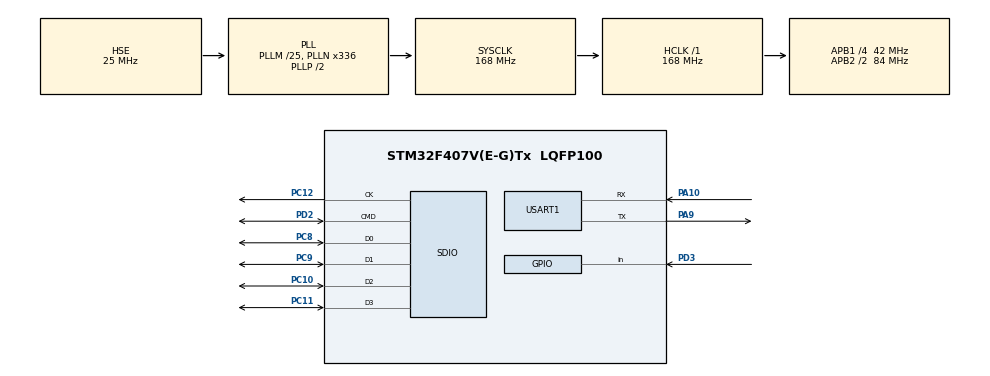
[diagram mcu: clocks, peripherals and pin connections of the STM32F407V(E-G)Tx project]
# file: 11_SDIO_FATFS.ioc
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Dma.Request0=SDIO_TX
Dma.Request1=SDIO_RX
Dma.SDIO_RX.1.Direction=DMA_PERIPH_TO_MEMORY
Dma.SDIO_RX.1.FIFOMode=DMA_FIFOMODE_ENABLE
Dma.SDIO_RX.1.FIFOThreshold=DMA_FIFO_THRESHOLD_FULL
Dma.SDIO_RX.1.Instance=DMA2_Stream6
Dma.SDIO_RX.1.MemBurst=DMA_MBURST_INC4
Dma.SDIO_RX.1.MemDataAlignment=DMA_MDATAALIGN_WORD
Dma.SDIO_RX.1.MemInc=DMA_MINC_ENABLE
Dma.SDIO_RX.1.Mode=DMA_PFCTRL
Dma.SDIO_RX.1.PeriphBurst=DMA_PBURST_INC4
Dma.SDIO_RX.1.PeriphDataAlignment=DMA_PDATAALIGN_WORD
Dma.SDIO_RX.1.PeriphInc=DMA_PINC_DISABLE
Dma.SDIO_RX.1.Priority=DMA_PRIORITY_VERY_HIGH
Dma.SDIO_TX.0.Direction=DMA_MEMORY_TO_PERIPH
Dma.SDIO_TX.0.FIFOMode=DMA_FIFOMODE_ENABLE
Dma.SDIO_TX.0.FIFOThreshold=DMA_FIFO_THRESHOLD_FULL
Dma.SDIO_TX.0.Instance=DMA2_Stream3
Dma.SDIO_TX.0.MemBurst=DMA_MBURST_INC4
Dma.SDIO_TX.0.MemDataAlignment=DMA_MDATAALIGN_WORD
Dma.SDIO_TX.0.MemInc=DMA_MINC_ENABLE
Dma.SDIO_TX.0.Mode=DMA_PFCTRL
Dma.SDIO_TX.0.PeriphBurst=DMA_PBURST_INC4
Dma.SDIO_TX.0.PeriphDataAlignment=DMA_PDATAALIGN_WORD
Dma.SDIO_TX.0.PeriphInc=DMA_PINC_DISABLE
Dma.SDIO_TX.0.Priority=DMA_PRIORITY_VERY_HIGH
FATFS.BSP.number=1
FATFS.USE_DMA_CODE_SD=1
FATFS._CODE_PAGE=949
FATFS._FS_TINY=0
FATFS._USE_LFN=1
FATFS0.BSP.STBoard=false
FATFS0.BSP.api=Unknown
FATFS0.BSP.instance=PD3
FATFS0.BSP.ip=GPIO
FATFS0.BSP.mode=Input
FATFS0.BSP.name=Detect_SDIO
FATFS0.BSP.solution=PD3
Mcu.Family=STM32F4
Mcu.Name=STM32F407V(E-G)Tx
Mcu.Package=LQFP100
NVIC.DMA2_Stream3_IRQn=true\:0\:0\:true\:false\:true\:false\:true\:true
NVIC.DMA2_Stream6_IRQn=true\:0\:0\:true\:false\:true\:false\:true\:true
NVIC.PriorityGroup=NVIC_PRIORITYGROUP_4
NVIC.SDIO_IRQn=true\:0\:0\:true\:false\:true\:true\:true\:true
PA10.GPIO_PuPd=GPIO_PULLUP
PA10.GPIO_Speed=GPIO_SPEED_FREQ_HIGH
PA10.Mode=Asynchronous
PA10.Signal=USART1_RX
PA13.Mode=Serial_Wire
PA13.Signal=SYS_JTMS-SWDIO
PA14.Mode=Serial_Wire
PA14.Signal=SYS_JTCK-SWCLK
PA9.GPIO_PuPd=GPIO_PULLUP
PA9.GPIO_Speed=GPIO_SPEED_FREQ_HIGH
PA9.Mode=Asynchronous
PA9.Signal=USART1_TX
PC10.GPIO_PuPd=GPIO_PULLUP
PC10.GPIO_Speed_High_Default=GPIO_SPEED_FREQ_HIGH
PC10.Mode=SD_4_bits_Wide_bus
PC10.Signal=SDIO_D2
PC11.GPIO_PuPd=GPIO_PULLUP
PC11.GPIO_Speed_High_Default=GPIO_SPEED_FREQ_HIGH
PC11.Mode=SD_4_bits_Wide_bus
PC11.Signal=SDIO_D3
PC12.GPIO_PuPd=GPIO_NOPULL
PC12.GPIO_Speed_High_Default=GPIO_SPEED_FREQ_HIGH
PC12.Mode=SD_4_bits_Wide_bus
PC12.Signal=SDIO_CK
PC8.GPIO_PuPd=GPIO_PULLUP
PC8.GPIO_Speed_High_Default=GPIO_SPEED_FREQ_HIGH
PC8.Mode=SD_4_bits_Wide_bus
PC8.Signal=SDIO_D0
PC9.GPIO_PuPd=GPIO_PULLUP
PC9.GPIO_Speed_High_Default=GPIO_SPEED_FREQ_HIGH
PC9.Mode=SD_4_bits_Wide_bus
PC9.Signal=SDIO_D1
PD2.GPIO_PuPd=GPIO_PULLUP
PD2.GPIO_Speed_High_Default=GPIO_SPEED_FREQ_HIGH
PD2.Mode=SD_4_bits_Wide_bus
PD2.Signal=SDIO_CMD
PD3.Signal=GPIO_Input
PH0-OSC_IN.Mode=HSE-External-Oscillator
PH0-OSC_IN.Signal=RCC_OSC_IN
PH1-OSC_OUT.Mode=HSE-External-Oscillator
PH1-OSC_OUT.Signal=RCC_OSC_OUT
ProjectManager.HeapSize=0x200
ProjectManager.StackSize=0x400
ProjectManager.TargetToolchain=STM32CubeIDE
RCC.48MHZClocksFreq_Value=48000000
RCC.AHBFreq_Value=168000000
RCC.APB1CLKDivider=RCC_HCLK_DIV4
RCC.APB1Freq_Value=42000000
RCC.APB1TimFreq_Value=84000000
RCC.APB2CLKDivider=RCC_HCLK_DIV2
RCC.APB2Freq_Value=84000000
RCC.APB2TimFreq_Value=168000000
RCC.CortexFreq_Value=168000000
RCC.HCLKFreq_Value=168000000
RCC.HSE_VALUE=25000000
RCC.HSI_VALUE=16000000
RCC.LSE_VALUE=32768
RCC.PLLM=25
RCC.PLLN=336
RCC.PLLQ=7
RCC.PLLSourceVirtual=RCC_PLLSOURCE_HSE
RCC.SYSCLKFreq_VALUE=168000000
RCC.SYSCLKSource=RCC_SYSCLKSOURCE_PLLCLK
RCC.VCOOutputFreq_Value=336000000
SDIO.ClockBypass=SDIO_CLOCK_BYPASS_DISABLE
SDIO.ClockDiv=0
USART1.VirtualMode=VM_ASYNC
VP_FATFS_VS_SDIO.Mode=SDIO
board=custom

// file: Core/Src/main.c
/* USER CODE BEGIN Header */
/**
  ******************************************************************************
  * @file           : main.c
  * @brief          : Main program body
  ******************************************************************************
  * @attention
  *
  * Copyright (c) 2025 STMicroelectronics.
  * All rights reserved.
  *
  * This software is licensed under terms that can be found in the LICENSE file
  * in the root directory of this software component.
  * If no LICENSE file comes with this software, it is provided AS-IS.
  *
  ******************************************************************************
  */
/* USER CODE END Header */
#include "main.h"
#include "dma.h"
#include "fatfs.h"
#include "sdio.h"
#include "usart.h"
#include "gpio.h"

/* USER CODE BEGIN Includes */
#include <stdio.h>
/* USER CODE END Includes */

/* USER CODE BEGIN PV */
FATFS   fs;   // FATFS structure
FIL     file; // File object structure
FRESULT res;  // File function return code
UINT    bytes_written; // The number of bytes actually written
                       // when writing a file in FatFS
/* USER CODE END PV */

void SystemClock_Config(void);

/* USER CODE BEGIN PFP */
void SD_Init(void);
void SD_WriteFile(void);
void SD_ReadFile(void);
void SD_DeleteFile(void);
void list_files(char *path);
/* USER CODE END PFP */

/* USER CODE BEGIN 0 */
int _write(int file, char *ptr, int len)
{
  HAL_UART_Transmit(&huart1, (uint8_t *)ptr, len, 50);
  return len;
}
/* USER CODE END 0 */

int main(void)
{

  /* MCU Configuration--------------------------------------------------------*/

  /* Reset of all peripherals, Initializes the Flash interface and the Systick. */
  HAL_Init();

  /* Configure the system clock */
  SystemClock_Config();

  /* Initialize all configured peripherals */
  MX_GPIO_Init();
  MX_DMA_Init();
  MX_SDIO_SD_Init();
  MX_USART1_UART_Init();
  MX_FATFS_Init();

  /* USER CODE BEGIN 2 */
  printf("===============================\n");
  printf("SD Card Information:\n");
  printf("Block size  : %lu\n", hsd.SdCard.BlockSize);
  printf("Block number: %lu Byte\n", hsd.SdCard.BlockNbr);
  printf("Card size   : %lu GB\n",
         (hsd.SdCard.BlockSize * (hsd.SdCard.BlockNbr / 1024)) / (1024 * 1024));
  printf("Card version: %lu\n", hsd.SdCard.CardVersion);
  printf("===============================\n\n");

  SD_Init();
  list_files("/");
  SD_WriteFile();
  list_files("/");
  SD_ReadFile();
  SD_DeleteFile();
  list_files("/");

  /* USER CODE END 2 */

  /* Infinite loop */
  while (1)
  {

  }
}

void SystemClock_Config(void)
{
  RCC_OscInitTypeDef RCC_OscInitStruct = {0};
  RCC_ClkInitTypeDef RCC_ClkInitStruct = {0};

  /** Configure the main internal regulator output voltage
  */
  __HAL_RCC_PWR_CLK_ENABLE();
  __HAL_PWR_VOLTAGESCALING_CONFIG(PWR_REGULATOR_VOLTAGE_SCALE1);

  /** Initializes the RCC Oscillators according to the specified parameters
  * in the RCC_OscInitTypeDef structure.
  */
  RCC_OscInitStruct.OscillatorType = RCC_OSCILLATORTYPE_HSE;
  RCC_OscInitStruct.HSEState = RCC_HSE_ON;
  RCC_OscInitStruct.PLL.PLLState = RCC_PLL_ON;
  RCC_OscInitStruct.PLL.PLLSource = RCC_PLLSOURCE_HSE;
  RCC_OscInitStruct.PLL.PLLM = 25;
  RCC_OscInitStruct.PLL.PLLN = 336;
  RCC_OscInitStruct.PLL.PLLP = RCC_PLLP_DIV2;
  RCC_OscInitStruct.PLL.PLLQ = 7;
  if (HAL_RCC_OscConfig(&RCC_OscInitStruct) != HAL_OK)
  {
    Error_Handler();
  }

  /** Initializes the CPU, AHB and APB buses clocks
  */
  RCC_ClkInitStruct.ClockType = RCC_CLOCKTYPE_HCLK|RCC_CLOCKTYPE_SYSCLK
                              |RCC_CLOCKTYPE_PCLK1|RCC_CLOCKTYPE_PCLK2;
  RCC_ClkInitStruct.SYSCLKSource = RCC_SYSCLKSOURCE_PLLCLK;
  RCC_ClkInitStruct.AHBCLKDivider = RCC_SYSCLK_DIV1;
  RCC_ClkInitStruct.APB1CLKDivider = RCC_HCLK_DIV4;
  RCC_ClkInitStruct.APB2CLKDivider = RCC_HCLK_DIV2;

  if (HAL_RCC_ClockConfig(&RCC_ClkInitStruct, FLASH_LATENCY_5) != HAL_OK)
  {
    Error_Handler();
  }
}

/* USER CODE BEGIN 4 */
void SD_Init(void) {
  // Mount SD Card
  res = f_mount(&fs, "", 1);
  if (res == FR_OK) {
    printf("SD Card Mounted Successfully!\r\n");
  } else {
    printf("SD Card Mount Failed! Error: %d\r\n", res);
  }
}

void SD_WriteFile(void) {
  res = f_open(&file, "test.txt", FA_WRITE | FA_CREATE_ALWAYS);
  if (res == FR_OK) {
    char data[] = "Hello, STM32 SD Card!";
    f_write(&file, data, sizeof(data), &bytes_written);
    f_close(&file);
    printf("File written successfully!\r\n");
  } else {
    printf("File write failed! Error: %d\r\n", res);
  }
}

void SD_ReadFile(void) {
  res = f_open(&file, "test.txt", FA_READ);
  if (res == FR_OK) {
    char buffer[100] = {0};
    f_read(&file, buffer, sizeof(buffer) - 1, &bytes_written);
    f_close(&file);
    printf("Read from file: %s\r\n", buffer);
  } else {
    printf("File read failed! Error: %d\r\n", res);
  }
}

void SD_DeleteFile(void) {
  res = f_unlink("test.txt");
  if (res == FR_OK) {
    printf("File deleted successfully!\r\n");
  } else {
    printf("File delete failed! Error: %d\r\n", res);
  }
}

void list_files(char *path) {
  FRESULT res;
  FILINFO fno;
  DIR dir;

  // Open Directory
  res = f_opendir(&dir, path);
  if (res != FR_OK) {
    printf("Error opening directory: %s, Error Code: %d\r\n", path, res);
    return;
  }

  printf("  Listing files in: %s\r\n", path);

  while (1) {
    res = f_readdir(&dir, &fno);
    if (res != FR_OK || fno.fname[0] == 0) {
      break;  // Error occurred or file not found
    }

    // Check if it is a folder or a file
    if (fno.fattrib & AM_DIR) {
      printf("  - [DIR] %s\r\n", fno.fname);
    } else {
      printf("  - [FILE] %s - %lu bytes\r\n", fno.fname, fno.fsize);
    }
  }
  printf("\n");
  f_closedir(&dir);
}

/* USER CODE END 4 */

void Error_Handler(void)
{
  __disable_irq();
  while (1)
  {
  }
}
